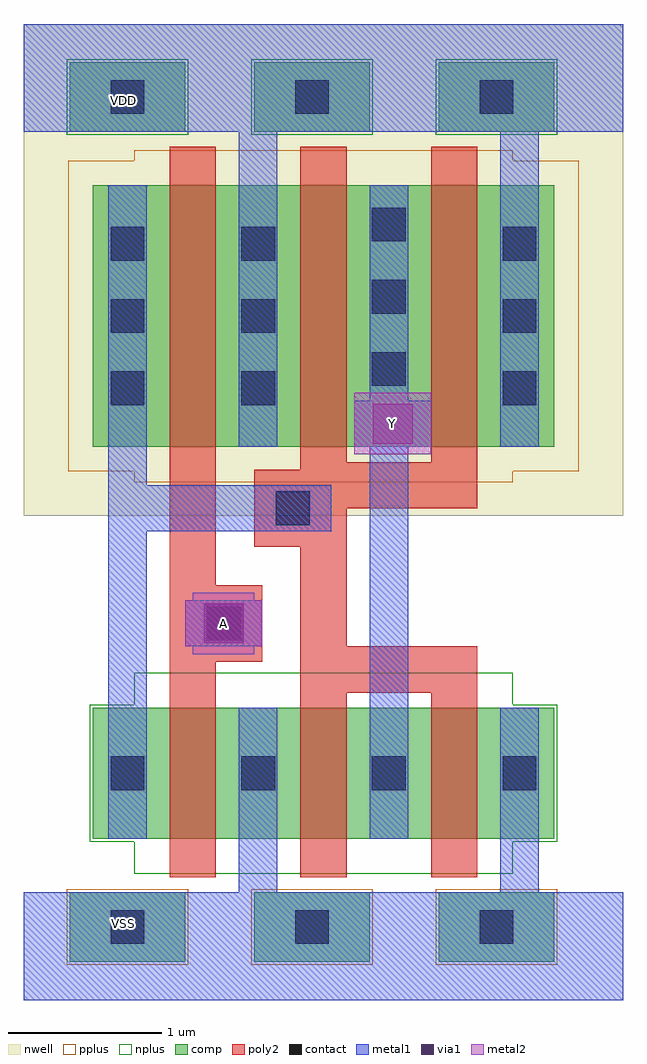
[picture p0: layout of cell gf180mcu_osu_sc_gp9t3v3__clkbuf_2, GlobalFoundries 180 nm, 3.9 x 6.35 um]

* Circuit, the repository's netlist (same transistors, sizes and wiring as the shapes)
* Copyright 2022 Google LLC
*
* Licensed under the Apache License, Version 2.0 (the "License");
* you may not use this file except in compliance with the License.
* You may obtain a copy of the License at
*
*      http://www.apache.org/licenses/LICENSE-2.0
*
* Unless required by applicable law or agreed to in writing, software
* distributed under the License is distributed on an "AS IS" BASIS,
* WITHOUT WARRANTIES OR CONDITIONS OF ANY KIND, either express or implied.
* See the License for the specific language governing permissions and
* limitations under the License.

.option scale=0.05u

.subckt gf180mcu_osu_sc_gp9t3v3__clkbuf_2 A Y
X0 Y a_9_19 VDD VDD pmos_3p3 w=34 l=6
X1 VSS a_9_19 Y VSS nmos_3p3 w=17 l=6
X2 VSS A a_9_19 VSS nmos_3p3 w=17 l=6
X3 VDD a_9_19 Y VDD pmos_3p3 w=34 l=6
X4 VDD A a_9_19 VDD pmos_3p3 w=34 l=6
X5 Y a_9_19 VSS VSS nmos_3p3 w=17 l=6
.ends

** hspice subcircuit dictionary

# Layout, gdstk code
import gdstk
lib = gdstk.Library(unit=1e-6, precision=1e-09)
def R(c, l, rs):  # rectangles x0, y0, x1, y1
    for r in rs: c.add(gdstk.rectangle(r[:2], r[2:], *l))
def A(c, l, x, y, w, h, nx, ny, dx, dy):  # array of equal rectangles
    R(c, l, [(x+i*dx, y+j*dy, x+i*dx+w, y+j*dy+h) for i in range(nx) for j in range(ny)])
nwell = (21, 0)
comp = (22, 0)
poly2 = (30, 0)
pplus = (31, 0)
nplus = (32, 0)
contact = (33, 0)
metal1 = (34, 0)
via1 = (35, 0)
metal2 = (36, 0)

gf180mcu_osu_sc_gp9t3v3_ = lib.new_cell('gf180mcu_osu_sc_gp9t3v3__clkbuf_2')
R(gf180mcu_osu_sc_gp9t3v3_, nwell, [(0,3.15,3.9,6.35)])
A(gf180mcu_osu_sc_gp9t3v3_, comp, 0.3, 0.25, 0.75, 0.45, 3, 2, 1.2, 5.4)
R(gf180mcu_osu_sc_gp9t3v3_, comp, [(0.45,1.05,3.45,1.9), (0.45,3.6,3.45,5.3)])
R(gf180mcu_osu_sc_gp9t3v3_, poly2, [(0.95,0.8,1.25,2.2), (1.8,0.8,2.1,2), (2.65,0.8,2.95,2), (1.8,2,2.95,2.3), (0.95,2.2,1.55,2.7), (1.8,2.3,2.1,2.95), (0.95,2.7,1.25,5.55), (1.5,2.95,2.1,3.2), (1.5,3.2,2.95,3.45), (1.8,3.45,2.95,3.5), (1.8,3.5,2.1,5.55), (2.65,3.5,2.95,5.55)])
A(gf180mcu_osu_sc_gp9t3v3_, pplus, 0.28, 0.23, 0.79, 0.49, 3, 1, 1.2, 0)
R(gf180mcu_osu_sc_gp9t3v3_, pplus, [(0.72,3.37,3.18,3.44), (0.29,3.44,3.61,5.46), (0.72,5.46,3.18,5.53)])
A(gf180mcu_osu_sc_gp9t3v3_, nplus, 0.28, 5.63, 0.79, 0.49, 3, 1, 1.2, 0)
R(gf180mcu_osu_sc_gp9t3v3_, nplus, [(0.72,0.82,3.18,1.03), (0.43,1.03,3.47,1.92), (0.72,1.92,3.18,2.13)])
A(gf180mcu_osu_sc_gp9t3v3_, contact, 0.565, 0.365, 0.22, 0.22, 3, 2, 1.2, 5.4)
A(gf180mcu_osu_sc_gp9t3v3_, contact, 0.565, 1.365, 0.22, 0.22, 4, 1, 0.85, 0)
A(gf180mcu_osu_sc_gp9t3v3_, contact, 0.565, 3.87, 0.22, 0.22, 1, 3, 0, 0.47)
A(gf180mcu_osu_sc_gp9t3v3_, contact, 1.415, 3.87, 0.22, 0.22, 1, 3, 0, 0.47)
A(gf180mcu_osu_sc_gp9t3v3_, contact, 3.115, 3.87, 0.22, 0.22, 1, 3, 0, 0.47)
A(gf180mcu_osu_sc_gp9t3v3_, contact, 2.265, 3.995, 0.22, 0.22, 1, 3, 0, 0.47)
R(gf180mcu_osu_sc_gp9t3v3_, contact, [(1.19,2.34,1.41,2.56), (1.64,3.09,1.86,3.31)])
R(gf180mcu_osu_sc_gp9t3v3_, metal1, [(0,0,3.9,0.7), (1.4,0.7,1.65,1.9), (3.1,0.7,3.35,1.9), (0.55,1.05,0.8,3.05), (2.25,1.05,2.5,3.6), (1.05,2.3,1.55,2.6), (0.55,3.05,2,3.35), (0.55,3.35,0.8,5.3), (1.4,3.6,1.65,5.65), (2.15,3.6,2.65,3.9), (3.1,3.6,3.35,5.65), (2.25,3.9,2.5,5.3), (0,5.65,3.9,6.35)])
R(gf180mcu_osu_sc_gp9t3v3_, via1, [(1.17,2.32,1.43,2.58), (2.27,3.62,2.53,3.88)])
R(gf180mcu_osu_sc_gp9t3v3_, metal2, [(1.1,2.25,1.5,2.3), (1.05,2.3,1.55,2.6), (1.1,2.6,1.5,2.65), (2.15,3.55,2.65,3.95)])
gf180mcu_osu_sc_gp9t3v3_.add(gdstk.Label('A', (1.3,2.45), layer=36, texttype=10))
gf180mcu_osu_sc_gp9t3v3_.add(gdstk.Label('Y', (2.4,3.75), layer=36, texttype=10))
gf180mcu_osu_sc_gp9t3v3_.add(gdstk.Label('VDD', (0.65,5.85), layer=34, texttype=10))
gf180mcu_osu_sc_gp9t3v3_.add(gdstk.Label('VSS', (0.65,0.5), layer=34, texttype=10))

lib.write_gds('gf180mcu_osu_sc_gp9t3v3__clkbuf_2.gds')
